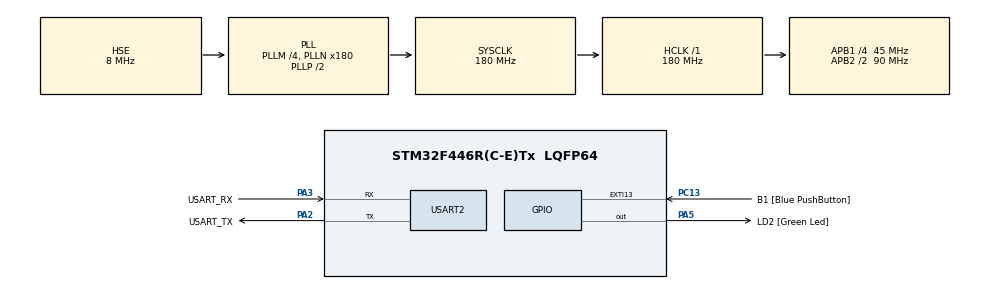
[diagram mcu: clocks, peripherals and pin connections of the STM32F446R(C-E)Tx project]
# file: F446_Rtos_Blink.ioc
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FREERTOS.Tasks01=LedTask,24,128,StartLedTask,Default,NULL,Dynamic,NULL,NULL;EchoTask,24,128,StartEchoTask,Default,NULL,Dynamic,NULL,NULL
FREERTOS.configUSE_PREEMPTION=0
Mcu.Family=STM32F4
Mcu.Name=STM32F446R(C-E)Tx
Mcu.Package=LQFP64
NVIC.PriorityGroup=NVIC_PRIORITYGROUP_4
NVIC.TIM7_IRQn=true\:15\:0\:false\:false\:true\:false\:false\:true\:true
NVIC.TimeBase=TIM7_IRQn
NVIC.TimeBaseIP=TIM7
NVIC.USART2_IRQn=true\:5\:0\:false\:false\:true\:true\:true\:true\:true
PA13.GPIO_Label=TMS
PA13.Mode=Serial_Wire
PA13.Signal=SYS_JTMS-SWDIO
PA14.GPIO_Label=TCK
PA14.Mode=Serial_Wire
PA14.Signal=SYS_JTCK-SWCLK
PA2.GPIO_Label=USART_TX
PA2.Mode=Asynchronous
PA2.Signal=USART2_TX
PA3.GPIO_Label=USART_RX
PA3.Mode=Asynchronous
PA3.Signal=USART2_RX
PA5.GPIO_Label=LD2 [Green Led]
PA5.Signal=GPIO_Output
PB3.GPIO_Label=SWO
PB3.Signal=SYS_JTDO-SWO
PC13.GPIO_Label=B1 [Blue PushButton]
PC13.GPIO_ModeDefaultEXTI=GPIO_MODE_IT_FALLING
PC13.Signal=GPXTI13
PH0-OSC_IN.Mode=HSE-External-Clock-Source
PH0-OSC_IN.Signal=RCC_OSC_IN
PH1-OSC_OUT.Mode=HSE-External-Clock-Source
PH1-OSC_OUT.Signal=RCC_OSC_OUT
ProjectManager.HeapSize=0x200
ProjectManager.StackSize=0x400
ProjectManager.TargetToolchain=MDK-ARM V5.32
RCC.48MHZClocksFreq_Value=84000000
RCC.AHBFreq_Value=180000000
RCC.APB1CLKDivider=RCC_HCLK_DIV4
RCC.APB1Freq_Value=45000000
RCC.APB1TimFreq_Value=90000000
RCC.APB2CLKDivider=RCC_HCLK_DIV2
RCC.APB2Freq_Value=90000000
RCC.APB2TimFreq_Value=180000000
RCC.CortexFreq_Value=180000000
RCC.FLatency-AdvancedSettings=FLASH_LATENCY_5
RCC.HCLKFreq_Value=180000000
RCC.HSE_VALUE=8000000
RCC.HSI_VALUE=16000000
RCC.PLLM=4
RCC.PLLN=180
RCC.PLLSourceVirtual=RCC_PLLSOURCE_HSE
RCC.SYSCLKFreq_VALUE=180000000
RCC.SYSCLKSource=RCC_SYSCLKSOURCE_PLLCLK
RCC.USBFreq_Value=180000000
RCC.VCOOutputFreq_Value=360000000
USART2.VirtualMode=VM_ASYNC
VP_FREERTOS_VS_CMSIS_V2.Mode=CMSIS_V2
VP_SYS_VS_tim7.Mode=TIM7
board=NUCLEO-F446RE

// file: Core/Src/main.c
/* USER CODE BEGIN Header */
/**
  ******************************************************************************
  * @file           : main.c
  * @brief          : Main program body
  ******************************************************************************
  * @attention
  *
  * Copyright (c) 2022 STMicroelectronics.
  * All rights reserved.
  *
  * This software is licensed under terms that can be found in the LICENSE file
  * in the root directory of this software component.
  * If no LICENSE file comes with this software, it is provided AS-IS.
  *
  ******************************************************************************
  */
/* USER CODE END Header */
#include "main.h"
#include "cmsis_os.h"
#include "usart.h"
#include "gpio.h"

void SystemClock_Config(void);
void MX_FREERTOS_Init(void);

int main(void)
{

  /* MCU Configuration--------------------------------------------------------*/

  /* Reset of all peripherals, Initializes the Flash interface and the Systick. */
  HAL_Init();

  /* Configure the system clock */
  SystemClock_Config();

  /* Initialize all configured peripherals */
  MX_GPIO_Init();
  MX_USART2_UART_Init();

  /* Init scheduler */
  osKernelInitialize();  /* Call init function for freertos objects (in freertos.c) */
  MX_FREERTOS_Init();

  /* Start scheduler */
  osKernelStart();
	HAL_GPIO_TogglePin(LD2_GPIO_Port,LD2_Pin);
  /* We should never get here as control is now taken by the scheduler */
  /* Infinite loop */
  while (1)
  {

  }
}

void SystemClock_Config(void)
{
  RCC_OscInitTypeDef RCC_OscInitStruct = {0};
  RCC_ClkInitTypeDef RCC_ClkInitStruct = {0};

  /** Configure the main internal regulator output voltage
  */
  __HAL_RCC_PWR_CLK_ENABLE();
  __HAL_PWR_VOLTAGESCALING_CONFIG(PWR_REGULATOR_VOLTAGE_SCALE1);

  /** Initializes the RCC Oscillators according to the specified parameters
  * in the RCC_OscInitTypeDef structure.
  */
  RCC_OscInitStruct.OscillatorType = RCC_OSCILLATORTYPE_HSE;
  RCC_OscInitStruct.HSEState = RCC_HSE_BYPASS;
  RCC_OscInitStruct.PLL.PLLState = RCC_PLL_ON;
  RCC_OscInitStruct.PLL.PLLSource = RCC_PLLSOURCE_HSE;
  RCC_OscInitStruct.PLL.PLLM = 4;
  RCC_OscInitStruct.PLL.PLLN = 180;
  RCC_OscInitStruct.PLL.PLLP = RCC_PLLP_DIV2;
  RCC_OscInitStruct.PLL.PLLQ = 2;
  RCC_OscInitStruct.PLL.PLLR = 2;
  if (HAL_RCC_OscConfig(&RCC_OscInitStruct) != HAL_OK)
  {
    Error_Handler();
  }

  /** Activate the Over-Drive mode
  */
  if (HAL_PWREx_EnableOverDrive() != HAL_OK)
  {
    Error_Handler();
  }

  /** Initializes the CPU, AHB and APB buses clocks
  */
  RCC_ClkInitStruct.ClockType = RCC_CLOCKTYPE_HCLK|RCC_CLOCKTYPE_SYSCLK
                              |RCC_CLOCKTYPE_PCLK1|RCC_CLOCKTYPE_PCLK2;
  RCC_ClkInitStruct.SYSCLKSource = RCC_SYSCLKSOURCE_PLLCLK;
  RCC_ClkInitStruct.AHBCLKDivider = RCC_SYSCLK_DIV1;
  RCC_ClkInitStruct.APB1CLKDivider = RCC_HCLK_DIV4;
  RCC_ClkInitStruct.APB2CLKDivider = RCC_HCLK_DIV2;

  if (HAL_RCC_ClockConfig(&RCC_ClkInitStruct, FLASH_LATENCY_5) != HAL_OK)
  {
    Error_Handler();
  }
}

void HAL_TIM_PeriodElapsedCallback(TIM_HandleTypeDef *htim)
{
  if (htim->Instance == TIM7) {
    HAL_IncTick();
  }
}

void Error_Handler(void)
{
  __disable_irq();
  while (1)
  {
  }
}

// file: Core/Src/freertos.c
/* USER CODE BEGIN Header */
/**
  ******************************************************************************
  * File Name          : freertos.c
  * Description        : Code for freertos applications
  ******************************************************************************
  * @attention
  *
  * Copyright (c) 2022 STMicroelectronics.
  * All rights reserved.
  *
  * This software is licensed under terms that can be found in the LICENSE file
  * in the root directory of this software component.
  * If no LICENSE file comes with this software, it is provided AS-IS.
  *
  ******************************************************************************
  */
/* USER CODE END Header */

#include "FreeRTOS.h"
#include "task.h"
#include "main.h"
#include "cmsis_os.h"
#include "string.h"
#include "userLed.h"
#include "userUart.h"

/* USER CODE BEGIN Variables */
extern UART_HandleTypeDef huart2;
/* USER CODE END Variables */
/* Definitions for LedTask */
osThreadId_t LedTaskHandle;
const osThreadAttr_t LedTask_attributes = {
  .name = "LedTask",
  .stack_size = 128 * 4,
  .priority = (osPriority_t) osPriorityNormal,
};
/* Definitions for EchoTask */
osThreadId_t EchoTaskHandle;
const osThreadAttr_t EchoTask_attributes = {
  .name = "EchoTask",
  .stack_size = 128 * 4,
  .priority = (osPriority_t) osPriorityNormal,
};

void StartLedTask(void *argument);
void StartEchoTask(void *argument);

void MX_FREERTOS_Init(void); /* (MISRA C 2004 rule 8.1) */

void MX_FREERTOS_Init(void) {

  /* Create the thread(s) */
  /* creation of LedTask */
  LedTaskHandle = osThreadNew(StartLedTask, NULL, &LedTask_attributes);

  /* creation of EchoTask */
  EchoTaskHandle = osThreadNew(StartEchoTask, NULL, &EchoTask_attributes);

}

void StartLedTask(void *argument)
{
  /* USER CODE BEGIN StartLedTask */

	userLed.CurrentTick=0;
	userLed.GPIO_Pin=GPIO_PIN_5; //LD2_Pin
	userLed.GPIO_Port=GPIOA; //LD2_GPIO_Port
	userLed.HighTick=100;	//OsTick (ms)
	userLed.LowTick=100;
	userLed.Preload=LPL_Disable;
	userLed.GPIO_State=LS_Low;

	uint32_t _sleepTime;
  /* Infinite loop */
  for(;;)
  {
		if(userUart.EchoState==UES_Enable)
			_sleepTime=LedHandler(&userLed);
		else
			_sleepTime=LedHandlerStatic(&userLed);

		uint32_t _threadFlag = osThreadFlagsWait(OSTF_KILLECHO|OSTF_STARTECHO,osFlagsWaitAny,_sleepTime);
		switch (_threadFlag)
		{
			case OSTF_KILLECHO:
			{
				osThreadTerminate(EchoTaskHandle);
				userUart.EchoState=UES_Disable;
				break;
			}
			case OSTF_STARTECHO:
			{
				EchoTaskHandle = osThreadNew(StartEchoTask, NULL, &EchoTask_attributes);
				userUart.EchoState=UES_Enable;
				break;
			}
		}
  }
  /* USER CODE END StartLedTask */
}

void StartEchoTask(void *argument)
{
  /* USER CODE BEGIN StartEchoTask */
	uint32_t _sleepTime=0;
  /* Infinite loop */
  for(;;)
  {
		uint32_t _threadFlag = osThreadFlagsWait(OSTF_CHECKREQUEST,osFlagsWaitAny,_sleepTime);
		switch (_threadFlag)
		{
			case OSTF_CHECKREQUEST:
			{
				_sleepTime=5;
				break;
			}
			default:
			{
				_sleepTime=osWaitForever;
				EchoHandler(&userUart,&userLed);
				break;
			}
		}
  }
  /* USER CODE END StartEchoTask */
}

/* USER CODE END Application */
